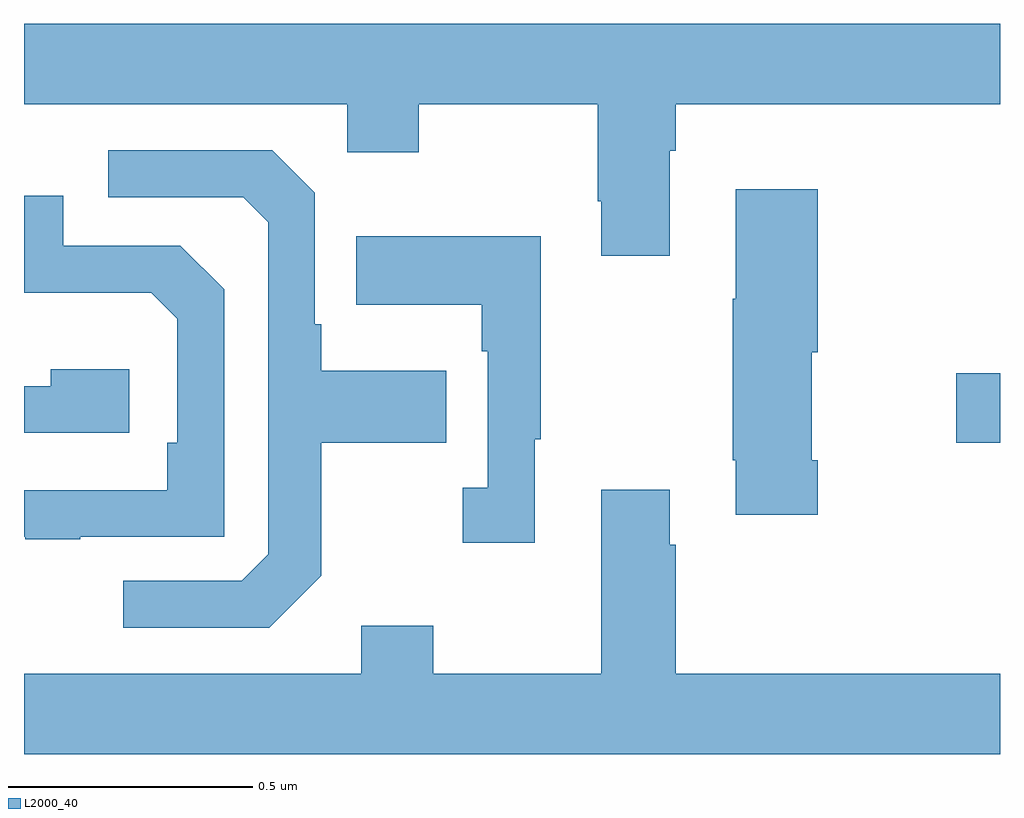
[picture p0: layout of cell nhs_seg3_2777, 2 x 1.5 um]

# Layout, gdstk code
import gdstk
lib = gdstk.Library(unit=1e-6, precision=1e-09)
def R(c, l, rs):  # rectangles x0, y0, x1, y1
    for r in rs: c.add(gdstk.rectangle(r[:2], r[2:], *l))
def P(c, l, *ps):  # polygons
    for p in ps: c.add(gdstk.Polygon(p, *l))
L2000_40 = (2000, 40)

nhs_seg3_2777 = lib.new_cell('nhs_seg3_2777')
R(nhs_seg3_2777, L2000_40, [(146.91,704.218,147,704.36)])
P(nhs_seg3_2777, L2000_40, [(146.323,704.816),(146.336,704.816),(146.336,704.912),(147,704.912),(147,705.076),(145,705.076),(145,704.912),(145.662,704.912),(145.662,704.813),(145.809,704.813),(145.809,704.912),(146.176,704.912),(146.176,704.713),(146.183,704.713),(146.183,704.601),(146.323,704.601)],
  [(145.609,703.945),(145.609,704.218),(145.865,704.218),(145.865,704.365),(145.609,704.365),(145.609,704.461),(145.596,704.461),(145.596,704.73),(145.509,704.817),(145.173,704.817),(145.173,704.721),(145.449,704.721),(145.5,704.67),(145.5,703.989),(145.446,703.935),(145.203,703.935),(145.203,703.839),(145.503,703.839)],
  [(146.627,704.182),(146.614,704.182),(146.614,704.403),(146.627,704.403),(146.627,704.737),(146.459,704.737),(146.459,704.513),(146.452,704.513),(146.452,704.182),(146.459,704.182),(146.459,704.07),(146.627,704.07)],
  [(145.115,704.025),(145.41,704.025),(145.41,704.532),(145.32,704.622),(145.08,704.622),(145.08,704.724),(145,704.724),(145,704.525),(145.261,704.525),(145.314,704.472),(145.314,704.218),(145.294,704.218),(145.294,704.121),(145,704.121),(145,704.025),(145.003,704.025),(145.003,704.02),(145.115,704.02)],
  [(146.047,704.225),(146.059,704.225),(146.059,704.641),(145.681,704.641),(145.681,704.501),(145.938,704.501),(145.938,704.405),(145.95,704.405),(145.95,704.126),(145.899,704.126),(145.899,704.013),(146.047,704.013)],
  [(145.216,704.368),(145.055,704.368),(145.055,704.334),(145,704.334),(145,704.238),(145.216,704.238)],
  [(147,703.744),(146.336,703.744),(146.336,704.009),(146.323,704.009),(146.323,704.122),(146.183,704.122),(146.183,703.744),(145.839,703.744),(145.839,703.843),(145.691,703.843),(145.691,703.744),(145,703.744),(145,703.58),(147,703.58)])

lib.write_gds('nhs_seg3_2777.gds')
